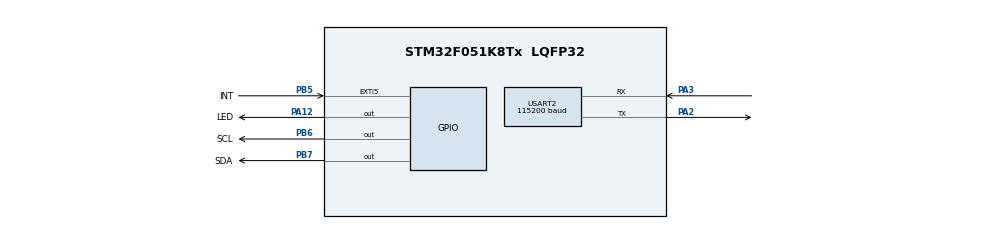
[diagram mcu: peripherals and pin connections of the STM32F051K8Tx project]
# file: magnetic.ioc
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Dma.Request0=USART2_RX
Dma.USART2_RX.0.Direction=DMA_PERIPH_TO_MEMORY
Dma.USART2_RX.0.Instance=DMA1_Channel5
Dma.USART2_RX.0.MemDataAlignment=DMA_MDATAALIGN_BYTE
Dma.USART2_RX.0.MemInc=DMA_MINC_ENABLE
Dma.USART2_RX.0.Mode=DMA_NORMAL
Dma.USART2_RX.0.PeriphDataAlignment=DMA_PDATAALIGN_BYTE
Dma.USART2_RX.0.PeriphInc=DMA_PINC_DISABLE
Dma.USART2_RX.0.Priority=DMA_PRIORITY_LOW
Mcu.Family=STM32F0
Mcu.Name=STM32F051K8Tx
Mcu.Package=LQFP32
NVIC.DMA1_Channel4_5_IRQn=true\:0\:0\:false\:false\:true\:false
NVIC.EXTI4_15_IRQn=true\:0\:0\:false\:false\:true\:true
NVIC.USART2_IRQn=true\:0\:0\:false\:false\:true\:true
PA12.GPIO_Label=LED
PA12.Signal=GPIO_Output
PA13.Mode=Serial_Wire
PA13.Signal=SYS_SWDIO
PA14.Mode=Serial_Wire
PA14.Signal=SYS_SWCLK
PA2.Mode=Asynchronous
PA2.Signal=USART2_TX
PA3.Mode=Asynchronous
PA3.Signal=USART2_RX
PB5.GPIO_Label=INT
PB5.Signal=GPXTI5
PB6.GPIO_Label=SCL
PB6.Signal=GPIO_Output
PB7.GPIO_Label=SDA
PB7.GPIO_ModeDefaultOutputPP=GPIO_MODE_OUTPUT_OD
PB7.Signal=GPIO_Output
ProjectManager.HeapSize=0x200
ProjectManager.StackSize=0x400
ProjectManager.TargetToolchain=MDK-ARM V5
USART2.BaudRate=115200
USART2.VirtualMode-Asynchronous=VM_ASYNC
board=custom

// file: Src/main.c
/**
  ******************************************************************************
  * @file           : main.c
  * @brief          : Main program body
  ******************************************************************************
  ** This notice applies to any and all portions of this file
  * that are not between comment pairs USER CODE BEGIN and
  * USER CODE END. Other portions of this file, whether
  * inserted by the user or by software development tools
  * are owned by their respective copyright owners.
  *
  * COPYRIGHT(c) 2018 STMicroelectronics
  *
  * Redistribution and use in source and binary forms, with or without modification,
  * are permitted provided that the following conditions are met:
  *   1. Redistributions of source code must retain the above copyright notice,
  *      this list of conditions and the following disclaimer.
  *   2. Redistributions in binary form must reproduce the above copyright notice,
  *      this list of conditions and the following disclaimer in the documentation
  *      and/or other materials provided with the distribution.
  *   3. Neither the name of STMicroelectronics nor the names of its contributors
  *      may be used to endorse or promote products derived from this software
  *      without specific prior written permission.
  *
  * THIS SOFTWARE IS PROVIDED BY THE COPYRIGHT HOLDERS AND CONTRIBUTORS "AS IS"
  * AND ANY EXPRESS OR IMPLIED WARRANTIES, INCLUDING, BUT NOT LIMITED TO, THE
  * IMPLIED WARRANTIES OF MERCHANTABILITY AND FITNESS FOR A PARTICULAR PURPOSE ARE
  * DISCLAIMED. IN NO EVENT SHALL THE COPYRIGHT HOLDER OR CONTRIBUTORS BE LIABLE
  * FOR ANY DIRECT, INDIRECT, INCIDENTAL, SPECIAL, EXEMPLARY, OR CONSEQUENTIAL
  * DAMAGES (INCLUDING, BUT NOT LIMITED TO, PROCUREMENT OF SUBSTITUTE GOODS OR
  * SERVICES; LOSS OF USE, DATA, OR PROFITS; OR BUSINESS INTERRUPTION) HOWEVER
  * CAUSED AND ON ANY THEORY OF LIABILITY, WHETHER IN CONTRACT, STRICT LIABILITY,
  * OR TORT (INCLUDING NEGLIGENCE OR OTHERWISE) ARISING IN ANY WAY OUT OF THE USE
  * OF THIS SOFTWARE, EVEN IF ADVISED OF THE POSSIBILITY OF SUCH DAMAGE.
  *
  ******************************************************************************
  */
#include "main.h"
#include "stm32f0xx_hal.h"

/* USER CODE BEGIN Includes */
#include "bsp_qmc5883l.h"
#include "filter.h"
#include "stdio.h"
/* USER CODE END Includes */

UART_HandleTypeDef huart2;
DMA_HandleTypeDef hdma_usart2_rx;

/* USER CODE BEGIN PV */
/* Private variables ---------------------------------------------------------*/

/* USER CODE END PV */

void SystemClock_Config(void);
static void MX_GPIO_Init(void);
static void MX_DMA_Init(void);
static void MX_USART2_UART_Init(void);

/* USER CODE BEGIN PFP */
/* Private function prototypes -----------------------------------------------*/

#pragma import(__use_no_semihosting)
void _sys_exit(int x)
{
x = x;
}
struct __FILE
{
int handle;
};
FILE __stdout;
int fputc(int ch, FILE *f)
{
				//发送数据到串口
	unsigned char tmp;
	tmp =(unsigned char )ch;
 HAL_UART_Transmit(&huart2, &tmp, 1, 1);
	return ch;
}

/* USER CODE END PFP */

/* USER CODE BEGIN 0 */
float Magnet[6];
/* USER CODE END 0 */

int main(void)
{

  /* MCU Configuration----------------------------------------------------------*/

  /* Reset of all peripherals, Initializes the Flash interface and the Systick. */
  HAL_Init();

  /* Configure the system clock */
  SystemClock_Config();

  /* Initialize all configured peripherals */
  MX_GPIO_Init();
  MX_DMA_Init();
  MX_USART2_UART_Init();
  /* USER CODE BEGIN 2 */
 bsp_InitQMC5883L();
  InitBaseLine();
  /* USER CODE END 2 */

  /* Infinite loop */
  while (1)
  {

  /* USER CODE BEGIN 3 */

	//HAL_Delay(1000);
  SupvisorProcess();
 //  QMC5883L_ReadData();
  }
  /* USER CODE END 3 */

}

void SystemClock_Config(void)
{

  RCC_OscInitTypeDef RCC_OscInitStruct;
  RCC_ClkInitTypeDef RCC_ClkInitStruct;

    /**Initializes the CPU, AHB and APB busses clocks
    */
  RCC_OscInitStruct.OscillatorType = RCC_OSCILLATORTYPE_HSI;
  RCC_OscInitStruct.HSIState = RCC_HSI_ON;
  RCC_OscInitStruct.HSICalibrationValue = 16;
  RCC_OscInitStruct.PLL.PLLState = RCC_PLL_NONE;
  if (HAL_RCC_OscConfig(&RCC_OscInitStruct) != HAL_OK)
  {
    _Error_Handler(__FILE__, __LINE__);
  }

    /**Initializes the CPU, AHB and APB busses clocks
    */
  RCC_ClkInitStruct.ClockType = RCC_CLOCKTYPE_HCLK|RCC_CLOCKTYPE_SYSCLK
                              |RCC_CLOCKTYPE_PCLK1;
  RCC_ClkInitStruct.SYSCLKSource = RCC_SYSCLKSOURCE_HSI;
  RCC_ClkInitStruct.AHBCLKDivider = RCC_SYSCLK_DIV1;
  RCC_ClkInitStruct.APB1CLKDivider = RCC_HCLK_DIV1;

  if (HAL_RCC_ClockConfig(&RCC_ClkInitStruct, FLASH_LATENCY_0) != HAL_OK)
  {
    _Error_Handler(__FILE__, __LINE__);
  }

    /**Configure the Systick interrupt time
    */
  HAL_SYSTICK_Config(HAL_RCC_GetHCLKFreq()/1000);

    /**Configure the Systick
    */
  HAL_SYSTICK_CLKSourceConfig(SYSTICK_CLKSOURCE_HCLK);

  /* SysTick_IRQn interrupt configuration */
  HAL_NVIC_SetPriority(SysTick_IRQn, 0, 0);
}

/* USART2 init function */
static void MX_USART2_UART_Init(void)
{

  huart2.Instance = USART2;
  huart2.Init.BaudRate = 115200;
  huart2.Init.WordLength = UART_WORDLENGTH_8B;
  huart2.Init.StopBits = UART_STOPBITS_1;
  huart2.Init.Parity = UART_PARITY_NONE;
  huart2.Init.Mode = UART_MODE_TX_RX;
  huart2.Init.HwFlowCtl = UART_HWCONTROL_NONE;
  huart2.Init.OverSampling = UART_OVERSAMPLING_16;
  huart2.Init.OneBitSampling = UART_ONE_BIT_SAMPLE_DISABLE;
  huart2.AdvancedInit.AdvFeatureInit = UART_ADVFEATURE_NO_INIT;
  if (HAL_UART_Init(&huart2) != HAL_OK)
  {
    _Error_Handler(__FILE__, __LINE__);
  }

}

static void MX_DMA_Init(void)
{
  /* DMA controller clock enable */
  __HAL_RCC_DMA1_CLK_ENABLE();

  /* DMA interrupt init */
  /* DMA1_Channel4_5_IRQn interrupt configuration */
  HAL_NVIC_SetPriority(DMA1_Channel4_5_IRQn, 0, 0);
  HAL_NVIC_EnableIRQ(DMA1_Channel4_5_IRQn);

}

/** Configure pins as
        * Analog
        * Input
        * Output
        * EVENT_OUT
        * EXTI
*/
static void MX_GPIO_Init(void)
{

  GPIO_InitTypeDef GPIO_InitStruct;

  /* GPIO Ports Clock Enable */
  __HAL_RCC_GPIOA_CLK_ENABLE();
  __HAL_RCC_GPIOB_CLK_ENABLE();

  /*Configure GPIO pin Output Level */
  HAL_GPIO_WritePin(LED_GPIO_Port, LED_Pin, GPIO_PIN_RESET);

  /*Configure GPIO pin Output Level */
  HAL_GPIO_WritePin(GPIOB, SCL_Pin|SDA_Pin, GPIO_PIN_SET);

  /*Configure GPIO pin : LED_Pin */
  GPIO_InitStruct.Pin = LED_Pin;
  GPIO_InitStruct.Mode = GPIO_MODE_OUTPUT_PP;
  GPIO_InitStruct.Pull = GPIO_NOPULL;
  GPIO_InitStruct.Speed = GPIO_SPEED_FREQ_LOW;
  HAL_GPIO_Init(LED_GPIO_Port, &GPIO_InitStruct);

  /*Configure GPIO pin : INT_Pin */
  GPIO_InitStruct.Pin = INT_Pin;
  GPIO_InitStruct.Mode = GPIO_MODE_IT_RISING;
  GPIO_InitStruct.Pull = GPIO_NOPULL;
  HAL_GPIO_Init(INT_GPIO_Port, &GPIO_InitStruct);

  /*Configure GPIO pin : SCL_Pin */
  GPIO_InitStruct.Pin = SCL_Pin;
  GPIO_InitStruct.Mode = GPIO_MODE_OUTPUT_PP;
  GPIO_InitStruct.Pull = GPIO_NOPULL;
  GPIO_InitStruct.Speed = GPIO_SPEED_FREQ_LOW;
  HAL_GPIO_Init(SCL_GPIO_Port, &GPIO_InitStruct);

  /*Configure GPIO pin : SDA_Pin */
  GPIO_InitStruct.Pin = SDA_Pin;
  GPIO_InitStruct.Mode = GPIO_MODE_OUTPUT_OD;
  GPIO_InitStruct.Pull = GPIO_NOPULL;
  GPIO_InitStruct.Speed = GPIO_SPEED_FREQ_LOW;
  HAL_GPIO_Init(SDA_GPIO_Port, &GPIO_InitStruct);

  /* EXTI interrupt init*/
  HAL_NVIC_SetPriority(EXTI4_15_IRQn, 0, 0);
  HAL_NVIC_EnableIRQ(EXTI4_15_IRQn);

}

void _Error_Handler(char *file, int line)
{
  while(1)
  {
  }
}

/************************ (C) COPYRIGHT STMicroelectronics *****END OF FILE****/
